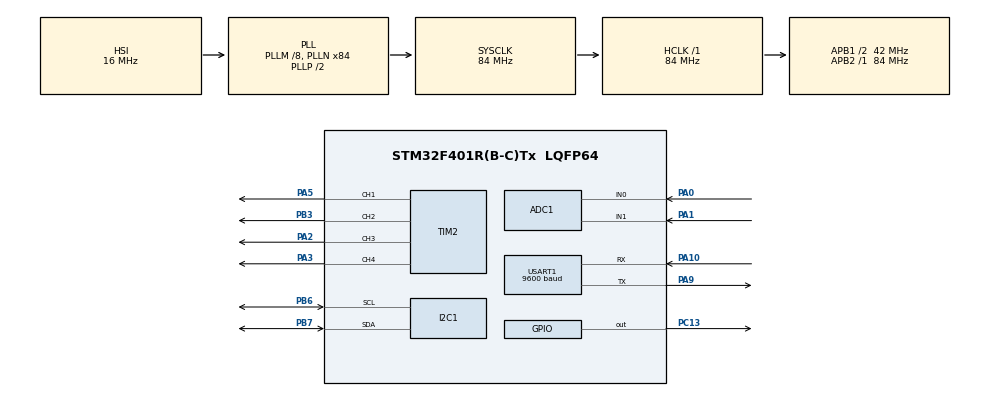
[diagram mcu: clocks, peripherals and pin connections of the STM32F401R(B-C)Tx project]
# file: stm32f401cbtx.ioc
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ADC1.Channel-0\#ChannelRegularConversion=ADC_CHANNEL_0
ADC1.NbrOfConversionFlag=1
ADC1.Rank-0\#ChannelRegularConversion=1
ADC1.SamplingTime-0\#ChannelRegularConversion=ADC_SAMPLETIME_3CYCLES
ADC1.master=1
Dma.ADC1.0.Direction=DMA_PERIPH_TO_MEMORY
Dma.ADC1.0.FIFOMode=DMA_FIFOMODE_DISABLE
Dma.ADC1.0.Instance=DMA2_Stream0
Dma.ADC1.0.MemDataAlignment=DMA_MDATAALIGN_WORD
Dma.ADC1.0.MemInc=DMA_MINC_ENABLE
Dma.ADC1.0.Mode=DMA_CIRCULAR
Dma.ADC1.0.PeriphDataAlignment=DMA_PDATAALIGN_WORD
Dma.ADC1.0.PeriphInc=DMA_PINC_DISABLE
Dma.ADC1.0.Priority=DMA_PRIORITY_LOW
Dma.Request0=ADC1
FREERTOS.Tasks01=defaultTask,24,128,StartDefaultTask,Default,NULL,Dynamic,NULL,NULL;remoteTask,32,512,StartRemoteTask,Default,NULL,Dynamic,NULL,NULL;FlightTask,48,1024,StartFlightTask,Default,NULL,Dynamic,NULL,NULL
FREERTOS.configENABLE_FPU=0
I2C1.I2C_Mode=I2C_Fast
Mcu.Family=STM32F4
Mcu.Name=STM32F401R(B-C)Tx
Mcu.Package=LQFP64
NVIC.ADC_IRQn=true\:5\:0\:false\:false\:true\:true\:true\:true\:true
NVIC.DMA2_Stream0_IRQn=true\:5\:0\:false\:false\:true\:true\:false\:true\:true
NVIC.PriorityGroup=NVIC_PRIORITYGROUP_4
NVIC.TIM1_UP_TIM10_IRQn=true\:15\:0\:false\:false\:true\:false\:false\:true\:true
NVIC.TimeBase=TIM1_UP_TIM10_IRQn
NVIC.TimeBaseIP=TIM1
NVIC.USART1_IRQn=true\:5\:0\:false\:false\:true\:true\:true\:true\:true
PA0-WKUP.Signal=ADCx_IN0
PA1.Signal=ADCx_IN1
PA10.Mode=Asynchronous
PA10.Signal=USART1_RX
PA2.Signal=S_TIM2_CH3
PA3.Signal=S_TIM2_CH4
PA5.Signal=S_TIM2_CH1_ETR
PA9.Mode=Asynchronous
PA9.Signal=USART1_TX
PB3.Signal=S_TIM2_CH2
PB6.GPIO_Pu=GPIO_NOPULL
PB6.GPIO_Speed=GPIO_SPEED_FREQ_HIGH
PB6.Mode=I2C
PB6.Signal=I2C1_SCL
PB7.GPIO_Pu=GPIO_NOPULL
PB7.GPIO_Speed=GPIO_SPEED_FREQ_HIGH
PB7.Mode=I2C
PB7.Signal=I2C1_SDA
PC13-ANTI_TAMP.Signal=GPIO_Output
PH0\ -\ OSC_IN.Mode=HSE-External-Oscillator
PH0\ -\ OSC_IN.Signal=RCC_OSC_IN
PH1\ -\ OSC_OUT.Mode=HSE-External-Oscillator
PH1\ -\ OSC_OUT.Signal=RCC_OSC_OUT
ProjectManager.HeapSize=0x200
ProjectManager.StackSize=0x400
ProjectManager.TargetToolchain=Makefile
RCC.48MHZClocksFreq_Value=42000000
RCC.AHBFreq_Value=84000000
RCC.APB1CLKDivider=RCC_HCLK_DIV2
RCC.APB1Freq_Value=42000000
RCC.APB1TimFreq_Value=84000000
RCC.APB2Freq_Value=84000000
RCC.APB2TimFreq_Value=84000000
RCC.CortexFreq_Value=84000000
RCC.HCLKFreq_Value=84000000
RCC.HSE_VALUE=25000000
RCC.HSI_VALUE=16000000
RCC.LSE_VALUE=32768
RCC.PLLM=8
RCC.PLLN=84
RCC.SYSCLKFreq_VALUE=84000000
RCC.SYSCLKSource=RCC_SYSCLKSOURCE_PLLCLK
RCC.VCOOutputFreq_Value=168000000
SH.ADCx_IN0.0=ADC1_IN0,IN0
SH.ADCx_IN1.0=ADC1_IN1,IN1
SH.S_TIM2_CH1_ETR.0=TIM2_CH1,PWM Generation1 CH1
SH.S_TIM2_CH2.0=TIM2_CH2,PWM Generation2 CH2
SH.S_TIM2_CH3.0=TIM2_CH3,PWM Generation3 CH3
SH.S_TIM2_CH4.0=TIM2_CH4,PWM Generation4 CH4
TIM2.Channel-PWM\ Generation1\ CH1=TIM_CHANNEL_1
TIM2.Channel-PWM\ Generation2\ CH2=TIM_CHANNEL_2
TIM2.Channel-PWM\ Generation3\ CH3=TIM_CHANNEL_3
TIM2.Channel-PWM\ Generation4\ CH4=TIM_CHANNEL_4
USART1.BaudRate=9600
USART1.VirtualMode=VM_ASYNC
VP_FREERTOS_VS_CMSIS_V2.Mode=CMSIS_V2
VP_SYS_VS_tim1.Mode=TIM1
VP_TIM2_VS_ClockSourceINT.Mode=Internal
board=custom

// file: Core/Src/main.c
/* USER CODE BEGIN Header */
/**
  ******************************************************************************
  * @file           : main.c
  * @brief          : Main program body
  ******************************************************************************
  * @attention
  *
  * Copyright (c) 2026 STMicroelectronics.
  * All rights reserved.
  *
  * This software is licensed under terms that can be found in the LICENSE file
  * in the root directory of this software component.
  * If no LICENSE file comes with this software, it is provided AS-IS.
  *
  ******************************************************************************
  */
/* USER CODE END Header */
#include "main.h"
#include "cmsis_os.h"
#include "adc.h"
#include "dma.h"
#include "i2c.h"
#include "tim.h"
#include "usart.h"
#include "gpio.h"

/* USER CODE BEGIN Includes */
#include "sm_hal_flash.h"
#include "main_app.h"
#include "app_bsp.h"
/* USER CODE END Includes */

/* USER CODE BEGIN PTD */
#define SYS_CLK					84000000UL
#define SYSTICK_PERIOD_MS		1U

#define SYSTEM_TICK_UPDATE		HAL_IncTick
/* USER CODE END PTD */

void SystemClock_Config(void);
void MX_FREERTOS_Init(void);

/* USER CODE BEGIN 0 */
volatile int64_t sys_tick = 0;
int64_t get_tick_count(){

	sys_tick = xTaskGetTickCount();
	return (int64_t)sys_tick;
}
void SYSTEM_TICK_UPDATE(void){
	uwTick += uwTickFreq;
}
/* USER CODE END 0 */

int main(void)
{

  /* MCU Configuration--------------------------------------------------------*/

  /* Reset of all peripherals, Initializes the Flash interface and the Systick. */
  HAL_Init();

  /* Configure the system clock */
  SystemClock_Config();

  /* Initialize all configured peripherals */
  MX_GPIO_Init();
  MX_DMA_Init();
  MX_I2C1_Init();
  MX_TIM2_Init();
  MX_USART1_UART_Init();
  MX_ADC1_Init();
  /* USER CODE BEGIN 2 */
//  __disable_irq();
	NVIC_SetPriority(SysTick_IRQn,
			NVIC_EncodePriority(NVIC_GetPriorityGrouping(),
			0, 0));
  SysTick_Config((SYS_CLK/1000)*SYSTICK_PERIOD_MS);
  sm_bsp_init();
  main_app_init();
  __enable_irq();
  /* USER CODE END 2 */

  /* Init scheduler */
  osKernelInitialize();  /* Call init function for freertos objects (in cmsis_os2.c) */
  MX_FREERTOS_Init();

  /* Start scheduler */
  osKernelStart();

  /* We should never get here as control is now taken by the scheduler */

  /* Infinite loop */
  while (1)
  {

  }
}

void SystemClock_Config(void)
{
  RCC_OscInitTypeDef RCC_OscInitStruct = {0};
  RCC_ClkInitTypeDef RCC_ClkInitStruct = {0};

  /** Configure the main internal regulator output voltage
  */
  __HAL_RCC_PWR_CLK_ENABLE();
  __HAL_PWR_VOLTAGESCALING_CONFIG(PWR_REGULATOR_VOLTAGE_SCALE2);

  /** Initializes the RCC Oscillators according to the specified parameters
  * in the RCC_OscInitTypeDef structure.
  */
  RCC_OscInitStruct.OscillatorType = RCC_OSCILLATORTYPE_HSI;
  RCC_OscInitStruct.HSIState = RCC_HSI_ON;
  RCC_OscInitStruct.HSICalibrationValue = RCC_HSICALIBRATION_DEFAULT;
  RCC_OscInitStruct.PLL.PLLState = RCC_PLL_ON;
  RCC_OscInitStruct.PLL.PLLSource = RCC_PLLSOURCE_HSI;
  RCC_OscInitStruct.PLL.PLLM = 8;
  RCC_OscInitStruct.PLL.PLLN = 84;
  RCC_OscInitStruct.PLL.PLLP = RCC_PLLP_DIV2;
  RCC_OscInitStruct.PLL.PLLQ = 4;
  if (HAL_RCC_OscConfig(&RCC_OscInitStruct) != HAL_OK)
  {
    Error_Handler();
  }

  /** Initializes the CPU, AHB and APB buses clocks
  */
  RCC_ClkInitStruct.ClockType = RCC_CLOCKTYPE_HCLK|RCC_CLOCKTYPE_SYSCLK
                              |RCC_CLOCKTYPE_PCLK1|RCC_CLOCKTYPE_PCLK2;
  RCC_ClkInitStruct.SYSCLKSource = RCC_SYSCLKSOURCE_PLLCLK;
  RCC_ClkInitStruct.AHBCLKDivider = RCC_SYSCLK_DIV1;
  RCC_ClkInitStruct.APB1CLKDivider = RCC_HCLK_DIV2;
  RCC_ClkInitStruct.APB2CLKDivider = RCC_HCLK_DIV1;

  if (HAL_RCC_ClockConfig(&RCC_ClkInitStruct, FLASH_LATENCY_2) != HAL_OK)
  {
    Error_Handler();
  }
}

void HAL_TIM_PeriodElapsedCallback(TIM_HandleTypeDef *htim)
{
  if (htim->Instance == TIM1)
  {
    HAL_IncTick();
  }
}

void Error_Handler(void)
{
  __disable_irq();
  while (1)
  {
  }
}

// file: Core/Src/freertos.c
/* USER CODE BEGIN Header */
/**
  ******************************************************************************
  * File Name          : freertos.c
  * Description        : Code for freertos applications
  ******************************************************************************
  * @attention
  *
  * Copyright (c) 2026 STMicroelectronics.
  * All rights reserved.
  *
  * This software is licensed under terms that can be found in the LICENSE file
  * in the root directory of this software component.
  * If no LICENSE file comes with this software, it is provided AS-IS.
  *
  ******************************************************************************
  */
/* USER CODE END Header */

#include "FreeRTOS.h"
#include "task.h"
#include "main.h"
#include "cmsis_os.h"

/* USER CODE BEGIN Includes */
#include "main_app.h"
#include "app_bsp.h"
#include "motor_control.h"
#include "motor_mix.h"
#include "motor_output.h"
#define MPU_TASK_PERIOD_MS			10

sm_remote_ctrl_t remote_data = {0};
/* USER CODE END Includes */

/* USER CODE BEGIN PD */
/* ---- Flight task ---- */
#define FLIGHT_PERIOD_MS        2U          /* 500 Hz, configTICK_RATE_HZ = 1000 */
#define FLIGHT_DT               0.002f      /* motor_control chi nhan 1.5..2.5 ms */

#define FLIGHT_MAX_ANGLE_DEG    30.0f       /* stick 100 -> 30 do */
#define FLIGHT_MAX_YAW_DPS      150.0f
#define FLIGHT_THR_ACTIVE       5U          /* ga < 5% -> idle, khong chay PID */
#define FLIGHT_THR_IDLE         0.05f       /* ga idle khi da arm (0..1) */
#define FLIGHT_IMU_ERR_MAX      10U         /* loi IMU lien tiep -> disarm (20 ms) */

/* TEST: 1 = bo qua stick roll/pitch, setpoint goc = 0 (drone tu giu thang bang).
 * Ga va yaw van lay tu remote. Dat ve 0 khi muon dieu khien roll/pitch. */
#define FLIGHT_TEST_LEVEL_HOLD  1

/* Dau stick -> quy uoc cua motor_mix (MPU truc X huong mui, Z huong len):
 * roll+ = nghieng phai, pitch+ = cui dau, yaw+ = quay trai (CCW).
 * Doi dau o day neu stick bi nguoc. */
#define RC_ROLL_SIGN            ( 1.0f)
#define RC_PITCH_SIGN           ( 1.0f)
#define RC_YAW_SIGN             (-1.0f)     /* stick phai = quay phai = gz am */

/* Cau hinh ESC/PWM (tan so, us, thu tu kenh) nam trong main_app.c: g_motor_out_cfg */
/* USER CODE END PD */

/* Definitions for defaultTask */
osThreadId_t defaultTaskHandle;
const osThreadAttr_t defaultTask_attributes = {
  .name = "defaultTask",
  .stack_size = 128 * 4,
  .priority = (osPriority_t) osPriorityNormal,
};
/* Definitions for remoteTask */
osThreadId_t remoteTaskHandle;
const osThreadAttr_t remoteTask_attributes = {
  .name = "remoteTask",
  .stack_size = 512 * 4,
  .priority = (osPriority_t) osPriorityAboveNormal,
};
/* Definitions for FlightTask */
osThreadId_t FlightTaskHandle;
const osThreadAttr_t FlightTask_attributes = {
  .name = "FlightTask",
  .stack_size = 1024 * 4,
  .priority = (osPriority_t) osPriorityRealtime,
};

void StartDefaultTask(void *argument);
void StartRemoteTask(void *argument);
void StartFlightTask(void *argument);

void MX_FREERTOS_Init(void); /* (MISRA C 2004 rule 8.1) */

void MX_FREERTOS_Init(void) {

  /* Create the thread(s) */
  /* creation of defaultTask */
  defaultTaskHandle = osThreadNew(StartDefaultTask, NULL, &defaultTask_attributes);

  /* creation of remoteTask */
  remoteTaskHandle = osThreadNew(StartRemoteTask, NULL, &remoteTask_attributes);

  /* creation of FlightTask */
  FlightTaskHandle = osThreadNew(StartFlightTask, NULL, &FlightTask_attributes);

}

void StartDefaultTask(void *argument)
{
  /* USER CODE BEGIN StartDefaultTask */
  /* Infinite loop */
  for(;;)
  {
    osDelay(100);
//	  main_app_t* app = main_app;
//	  sm_remote_read(app->m_remote, &remote_data);
//	  sm_hal_pwm_set_duty(app->m_drive.m_pwm_channel2,PWM_CHANNEL_2,remote_data.throttle*0.01f);
  }
  /* USER CODE END StartDefaultTask */
}

void StartRemoteTask(void *argument)
{
  /* USER CODE BEGIN StartRemoteTask */
  /* Infinite loop */
  for(;;)
  {
    osDelay(1);
    main_app_t* app = main_app;
    sm_remote_read(app->m_remote, &remote_data);
  }
  /* USER CODE END StartRemoteTask */
}

void StartFlightTask(void *argument)
{
  /* USER CODE BEGIN StartFlightTask */
	main_app_t *app = main_app;
	sm_motor_control_t *ctrl = sm_motor_control_init();
	sm_motor_output_t *out = app->m_drive.m_motor_out;
	sm_attitude_angle_t att = {0};
	sm_remote_ctrl_t rc;
	sm_motor_control_sp_t sp;
	sm_motor_control_output_t ref;
	sm_mixer_input_t mix_in;
	sm_mixer_output_t mix_out;
	float m[MOTOR_COUNT] = {0};
	uint32_t imu_err = 0;
	uint8_t was_armed = 0;

	sm_motor_output_stop(out);			/* ESC arm o 1000 us */

	uint32_t next_tick = osKernelGetTickCount();
  /* Infinite loop */
  for(;;)
  {
	next_tick += FLIGHT_PERIOD_MS;

	/* 1. IMU: doc MPU + cap nhat quaternion (I2C 400 kHz ~0.4 ms).
	 *    Loi le 1-2 lan thi dung lai goc cu, loi lien tiep moi disarm. */
	if (sm_attitude_est_update(app->m_attitude) == 0
			&& sm_attitude_est_get_angle(app->m_attitude, &att) == 0)
		imu_err = 0;
	else if (imu_err < FLIGHT_IMU_ERR_MAX)
		imu_err++;
	uint8_t imu_ok = (imu_err < FLIGHT_IMU_ERR_MAX);

	/* 2. Remote: tra -1 va xoa ve 0 khi mat link/timeout */
	uint8_t rc_ok = (sm_remote_read(app->m_remote, &rc) == 0);

	/* 3. Arm/disarm an toan */
	if (!rc_ok || !imu_ok || !ctrl)
		app->m_motor_run = 0;			/* mat link: bat buoc an nut arm lai */
	if (app->m_motor_run && !was_armed && rc.throttle >= FLIGHT_THR_ACTIVE)
		app->m_motor_run = 0;			/* chi cho arm khi ga dang o thap */
	uint8_t armed = app->m_motor_run;
	was_armed = armed;

	if (!armed) {
		sm_motor_control_reset(ctrl);
		sm_motor_output_stop(out);
	}
	else if (rc.throttle < FLIGHT_THR_ACTIVE) {
		/* Dang nam tren dat: chi idle, khong de I tich luy */
		sm_motor_control_reset(ctrl);
		for (uint32_t i = 0; i < MOTOR_COUNT; i++) m[i] = FLIGHT_THR_IDLE;
		sm_motor_output_write(out, m);
	}
	else {
		/* 4. Setpoint tu stick */
#if FLIGHT_TEST_LEVEL_HOLD
		sp.roll_set     = 0.0f;
		sp.pitch_set    = 0.0f;
#else
		sp.roll_set     = RC_ROLL_SIGN  * rc.roll  * (FLIGHT_MAX_ANGLE_DEG / 100.0f);
		sp.pitch_set    = RC_PITCH_SIGN * rc.pitch * (FLIGHT_MAX_ANGLE_DEG / 100.0f);
#endif
		sp.yaw_rate_set = RC_YAW_SIGN   * rc.yaw   * (FLIGHT_MAX_YAW_DPS   / 100.0f);

		/* 5. Vong ngoai (goc, 100 Hz) + vong trong (rate, 500 Hz) */
		mix_in.throttle = rc.throttle * 0.01f;
		if (sm_motor_control_update(ctrl, &att, &sp, FLIGHT_DT, &ref) == 0) {
			mix_in.roll  = ref.roll;
			mix_in.pitch = ref.pitch;
			mix_in.yaw   = ref.yaw;
		} else {
			/* Timing/du lieu loi: giu throttle, bo hieu chinh chu ky nay */
			mix_in.roll = mix_in.pitch = mix_in.yaw = 0.0f;
		}

		/* 6. Mixer -> output */
		sm_motor_mixer_update(&mix_in, &mix_out);
		for (uint32_t i = 0; i < MOTOR_COUNT; i++)
			m[i] = (mix_out.motor[i] < FLIGHT_THR_IDLE) ? FLIGHT_THR_IDLE : mix_out.motor[i];
		sm_motor_output_write(out, m);
	}

	osDelayUntil(next_tick);
  }
  /* USER CODE END StartFlightTask */
}
